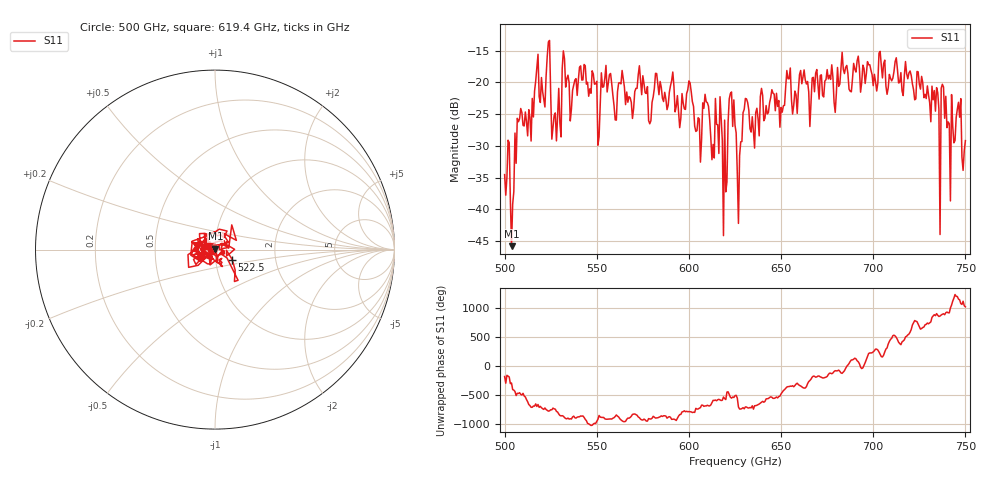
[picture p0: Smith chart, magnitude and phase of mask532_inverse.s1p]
!Created with skrf (http://scikit-rf.org).
# GHz S MA R 50.0
!freq magS11 angS11
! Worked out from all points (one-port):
!   401 points, 500 GHz to 750 GHz, reference 50 ohm
!   lowest |S11| = -45.8 dB at 503.8 GHz (marker M1), VSWR 1.01, Z = 50.2 + j0.48 ohm
!   |S11| at or under -10 dB: start of sweep to end of sweep
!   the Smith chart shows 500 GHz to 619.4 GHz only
!   S11 on the Smith chart (normalised r, x): 500 GHz: 0.96, -0.00; 522.5 GHz: 1.20, -0.14; 619.4 GHz: 0.91, +0.03
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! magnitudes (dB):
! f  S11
! 500 GHz  -34.5
! 503.8 GHz  -45.8
! 508.1 GHz  -25.7
! 522.5 GHz  -19.1
! 523.8 GHz  -13.6
! 526.9 GHz  -25.2
! 531.2 GHz  -17.8
! 562.5 GHz  -20.1
! 593.8 GHz  -22.1
! 600 GHz  -19.8
! 605.6 GHz  -25.8
! 609.4 GHz  -23.1
! 612.5 GHz  -32.2
! 616.9 GHz  -22.3
! 619.4 GHz  -26.0
! 622.5 GHz  -21.8
! 625 GHz  -26.8
! 627.5 GHz  -31.5
! 630.6 GHz  -22.5
! 634.4 GHz  -25.4
! 656.2 GHz  -25.0
! 687.5 GHz  -21.4
! 718.8 GHz  -19.4
! 735 GHz  -21.6
! 738.1 GHz  -20.7
! 743.1 GHz  -26.9
! 746.2 GHz  -23.1
! 750 GHz  -29.2
